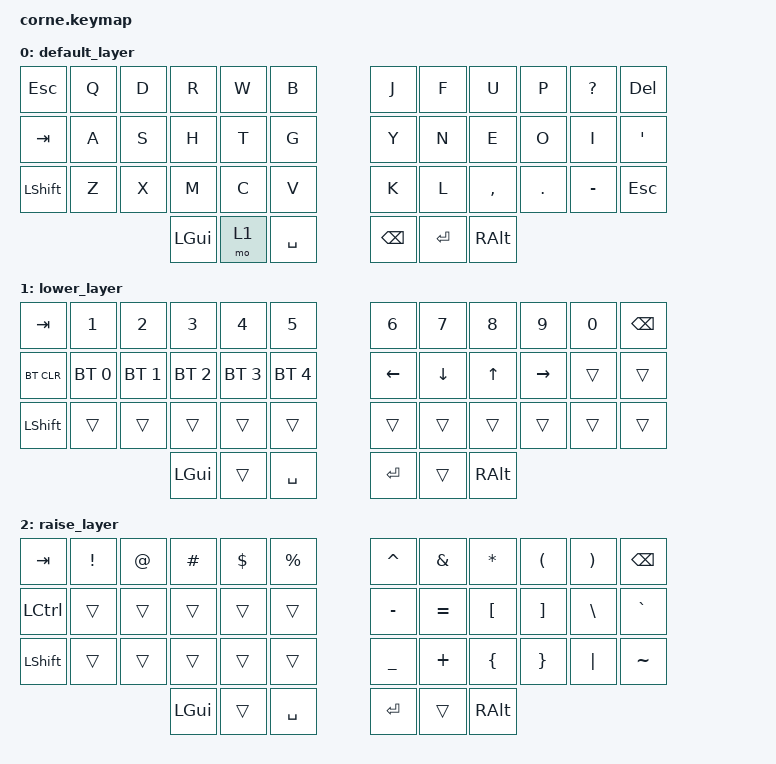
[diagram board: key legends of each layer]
/*
 * Copyright (c) 2020 The ZMK Contributors
 *
 * SPDX-License-Identifier: MIT
 */

#include <behaviors.dtsi>
#include <dt-bindings/zmk/bt.h>
#include <dt-bindings/zmk/keys.h>

/ {
    keymap {
        compatible = "zmk,keymap";

        default_layer {
            // -----------------------------------------------------------------------------------------
            // |  TAB |  Q  |  W  |  E  |  R  |  T  |   |  Y  |  U   |  I  |  O  |  P  | BSPC |
            // | CTRL |  A  |  S  |  D  |  F  |  G  |   |  H  |  J   |  K  |  L  |  ;  |  '   |
            // | SHFT |  Z  |  X  |  C  |  V  |  B  |   |  N  |  M   |  ,  |  .  |  /  | ESC  |
            //                    | GUI | LWR | SPC |   | ENT | RSE  | ALT |

            bindings = <
&kp ESC    &kp Q  &kp D  &kp R     &kp W  &kp B        &kp J          &kp F      &kp U      &kp P    &kp QUESTION  &kp DELETE
&kp TAB    &kp A  &kp S  &kp H     &kp T  &kp G        &kp Y          &kp N      &kp E      &kp O    &kp I         &kp SQT
&kp LSHFT  &kp Z  &kp X  &kp M     &kp C  &kp V        &kp K          &kp L      &kp COMMA  &kp DOT  &kp MINUS     &kp ESC
                         &kp LGUI  &mo 1  &kp SPACE    &kp BACKSPACE  &kp ENTER  &kp RALT
            >;
        };

        lower_layer {
            // -----------------------------------------------------------------------------------------
            // |  TAB |  1  |  2  |  3  |  4  |  5  |   |  6  |  7  |  8  |  9  |  0  | BSPC |
            // | BTCLR| BT1 | BT2 | BT3 | BT4 | BT5 |   | LFT | DWN |  UP | RGT |     |      |
            // | SHFT |     |     |     |     |     |   |     |     |     |     |     |      |
            //                    | GUI |     | SPC |   | ENT |     | ALT |

            bindings = <
&kp TAB     &kp N1        &kp N2        &kp N3        &kp N4        &kp N5          &kp N6    &kp N7    &kp N8    &kp N9     &kp N0  &kp BSPC
&bt BT_CLR  &bt BT_SEL 0  &bt BT_SEL 1  &bt BT_SEL 2  &bt BT_SEL 3  &bt BT_SEL 4    &kp LEFT  &kp DOWN  &kp UP    &kp RIGHT  &trans  &trans
&kp LSHFT   &trans        &trans        &trans        &trans        &trans          &trans    &trans    &trans    &trans     &trans  &trans
                                        &kp LGUI      &trans        &kp SPACE       &kp RET   &trans    &kp RALT
            >;
        };

        raise_layer {
            // -----------------------------------------------------------------------------------------
            // |  TAB |  !  |  @  |  #  |  $  |  %  |   |  ^  |  &  |  *  |  (  |  )  | BSPC |
            // | CTRL |     |     |     |     |     |   |  -  |  =  |  [  |  ]  |  \  |  `   |
            // | SHFT |     |     |     |     |     |   |  _  |  +  |  {  |  }  | "|" |  ~   |
            //                    | GUI |     | SPC |   | ENT |     | ALT |

            bindings = <
&kp TAB    &kp EXCL  &kp AT  &kp HASH  &kp DLLR  &kp PRCNT    &kp CARET  &kp AMPS   &kp ASTRK  &kp LPAR  &kp RPAR  &kp BSPC
&kp LCTRL  &trans    &trans  &trans    &trans    &trans       &kp MINUS  &kp EQUAL  &kp LBKT   &kp RBKT  &kp BSLH  &kp GRAVE
&kp LSHFT  &trans    &trans  &trans    &trans    &trans       &kp UNDER  &kp PLUS   &kp LBRC   &kp RBRC  &kp PIPE  &kp TILDE
                             &kp LGUI  &trans    &kp SPACE    &kp RET    &trans     &kp RALT
            >;
        };
    };
};
